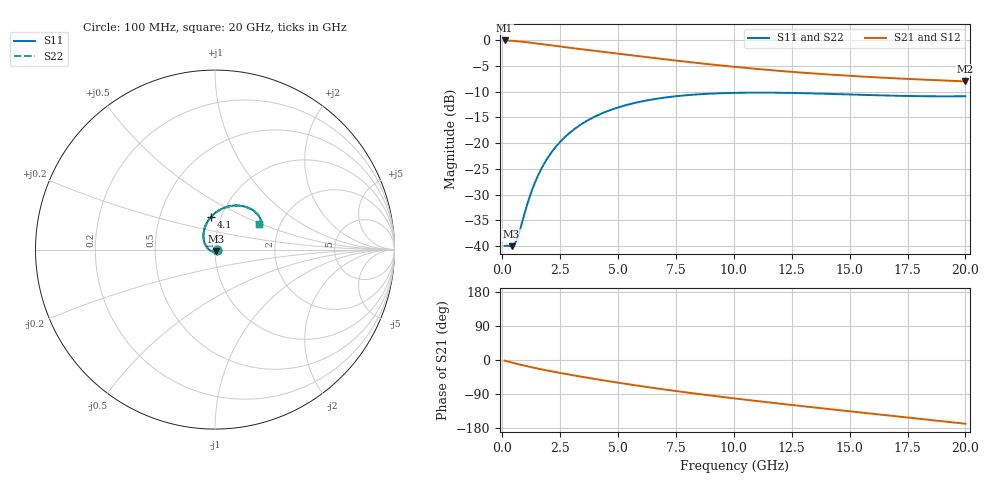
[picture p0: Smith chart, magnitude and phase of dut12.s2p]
! Touchstone file exported from HFSS 2024.1.0
!  File:  C:/UserFiles/LocalFiles/RDL_TSV_Batchsim/temp_RDL_TSV_12_1779397968.aedt
!  Generated:  05:24:02 AM May 22, 2026
!  Design:  RDL_TSV
!  Project:  temp_RDL_TSV_12_1779397968
!  Setup:  Setup1
!  Solution:  Sweep
! Variables:
!  dtsv = 14.57um
!  hbump = 3um
!  htsv = 55.06um
!  ldown = 336.08um
!  lrdl = 370.81um
!  p = 40
!  p1 = 57.07um
!  rhole = 10um
!  subl = 2491.48um
!  t = 450um
!  tdown = 3.25um
!  trdl = 3.76um
!  viad = 10um
!  wdown = 28.15um
!  wrdl = 25.3um
!  xbump = 18um
# GHz S MA R 50.000000
! Terminal data exported
! Port[1] = TM1_1_T1
! Port[2] = TM1_4_T1
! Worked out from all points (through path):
!   200 points, 100 MHz to 20 GHz, reference 50 ohm
!   highest |S21| = -0.09 dB at 100 MHz (marker M1); lowest = -8.0 dB at 20 GHz (marker M2)
!   group delay of S21, straight-line fit = 21.9 ps
!   lowest |S11| = -40.0 dB at 400 MHz (marker M3), VSWR 1.02, Z = 50.5 - j0.846 ohm
!   |S11| at or under -10 dB: start of sweep to end of sweep
!   |S22| runs from -40.0 to -10.2 dB; largest |S21 - S12| = 9.6e-15
!   S11 on the Smith chart (normalised r, x): 100 MHz: 1.02, -0.00; 4.1 GHz: 0.90, +0.34; 20 GHz: 1.56, +0.49
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0.1  0.01004 -10.7  0.9893 -1.7  0.9893 -1.7  0.01004 -10.7
! Gamma 0 0 0 0
! Port Impedance 50 0 50 0
0.4  0.009981 -56.9  0.982 -6.5  0.982 -6.5  0.009983 -56.9
0.5  0.01025 -77.2  0.9784 -8.0  0.9784 -8.0  0.01025 -77.1
0.6  0.01114 -98.0  0.9744 -9.6  0.9744 -9.6  0.01114 -98.0
0.7  0.01283 -117.4  0.97 -11.1  0.97 -11.1  0.01282 -117.3
1.1  0.02638 -168.0  0.9486 -16.9  0.9486 -16.9  0.02635 -168.0
1.3  0.03573 177.2  0.9366 -19.6  0.9366 -19.6  0.03568 177.2
1.5  0.04603 165.7  0.9242 -22.3  0.9242 -22.3  0.04597 165.7
1.8  0.06256 152.0  0.9055 -26.0  0.9055 -26.0  0.06248 152.0
2.1  0.07971 141.0  0.8871 -29.6  0.8871 -29.6  0.0796 141.0
2.5  0.1027 129.0  0.8636 -34.2  0.8636 -34.2  0.1025 129.0
3  0.1305 116.8  0.8357 -39.7  0.8357 -39.7  0.1303 116.8
3.5  0.1566 106.6  0.8093 -45.0  0.8093 -45.0  0.1564 106.6
4.1  0.1851 96.4  0.7792 -51.1  0.7792 -51.1  0.1848 96.3
5.3  0.2318 80.0  0.7225 -62.7  0.7225 -62.7  0.2314 80.0
6.8  0.2719 64.7  0.6583 -76.1  0.6583 -76.1  0.2714 64.7
8.4  0.2962 52.6  0.5989 -89.1  0.5989 -89.1  0.2956 52.6
10.1  0.3071 43.2  0.5468 -101.9  0.5468 -101.9  0.3064 43.2
11.7  0.308 36.8  0.5073 -113.2  0.5073 -113.2  0.3073 36.8
13.4  0.3031 32.2  0.4738 -124.8  0.4738 -124.8  0.3024 32.2
16.7  0.2887 28.7  0.4275 -146.5  0.4275 -146.5  0.288 28.7
20  0.2847 30.4  0.3967 -168.1  0.3967 -168.1  0.284 30.5
